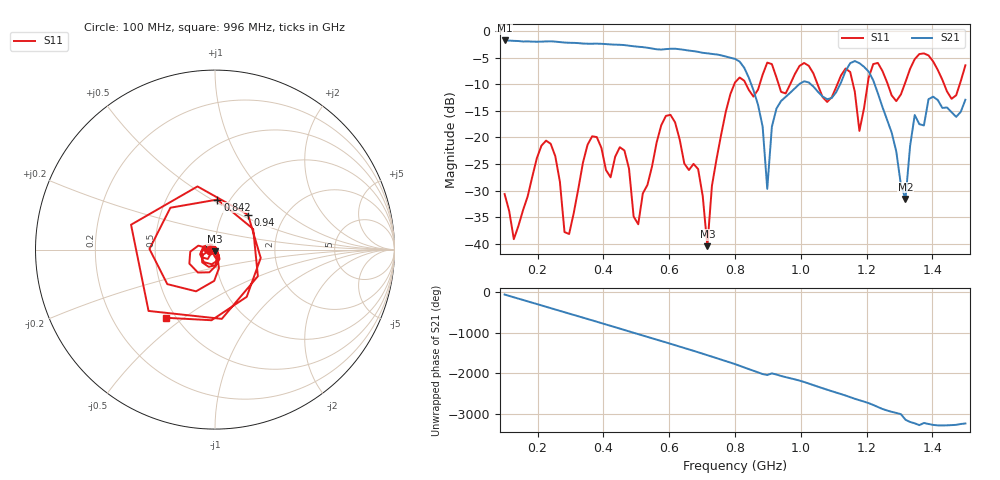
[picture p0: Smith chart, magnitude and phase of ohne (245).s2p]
! NanoVNA-App
! Date: 2025-09-25 14:22:42
! Start: 100MHz Stop: 1,5GHz Points: 101
! S-Parameter data: F S11 S21 S12 S22
# Hz S RI R 50
!  Frequency  S11_Real  S11_Imag  S21_Real  S21_Imag  S12_Real  S12_Imag  S22_Real  S22_Imag
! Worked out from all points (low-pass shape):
!   101 points, 100 MHz to 1.5 GHz, reference 50 ohm
!   highest |S21| = -1.79 dB at 100 MHz (marker M1); lowest = -31.6 dB at 1.318 GHz (marker M2)
!   |S21| within 3 dB of the highest: start of sweep to 770.8 MHz
!   lowest |S11| = -40.4 dB at 716 MHz (marker M3), VSWR 1.02, Z = 49.7 - j0.911 ohm
!   |S11| at or under -10 dB: start of sweep to 797.9 MHz; 833.2 MHz to 875.1 MHz (41.86 MHz wide, 4.9 % of centre); 1.051 GHz to 1.111 GHz (60.47 MHz wide, 5.59 % of centre) (the widest 3 of 7)
!   S12 and S22 are empty: the file has one direction only
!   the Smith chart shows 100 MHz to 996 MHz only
!   S11 on the Smith chart (normalised r, x): 100 MHz: 0.94, -0.01; 842 MHz: 0.88, +0.53; 940 MHz: 1.32, +0.55; 996 MHz: 0.44, -0.43
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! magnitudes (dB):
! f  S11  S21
! 100 MHz  -30.6  -1.8
! 128 MHz  -39.1  -1.9
! 226 MHz  -20.6  -2.0
! 296 MHz  -38.1  -2.2
! 338 MHz  -24.8  -2.4
! 464 MHz  -22.5  -2.7
! 506 MHz  -36.3  -3.0
! 576 MHz  -17.7  -3.5
! 688 MHz  -26.0  -3.9
! 716 MHz  -40.4  -4.2
! 800 MHz  -9.7  -5.3
! 842 MHz  -11.1  -8.8
! 898 MHz  -6.0  -29.7
! 940 MHz  -11.4  -13.2
! 996 MHz  -6.6  -10.0
! 1.038 GHz  -8.0  -10.4
! 1.178 GHz  -18.8  -6.1
! 1.22 GHz  -6.2  -9.3
! 1.276 GHz  -12.1  -19.1
! 1.318 GHz  -9.6  -31.6
! 1.346 GHz  -5.3  -15.8
! 1.5 GHz  -6.5  -12.9
